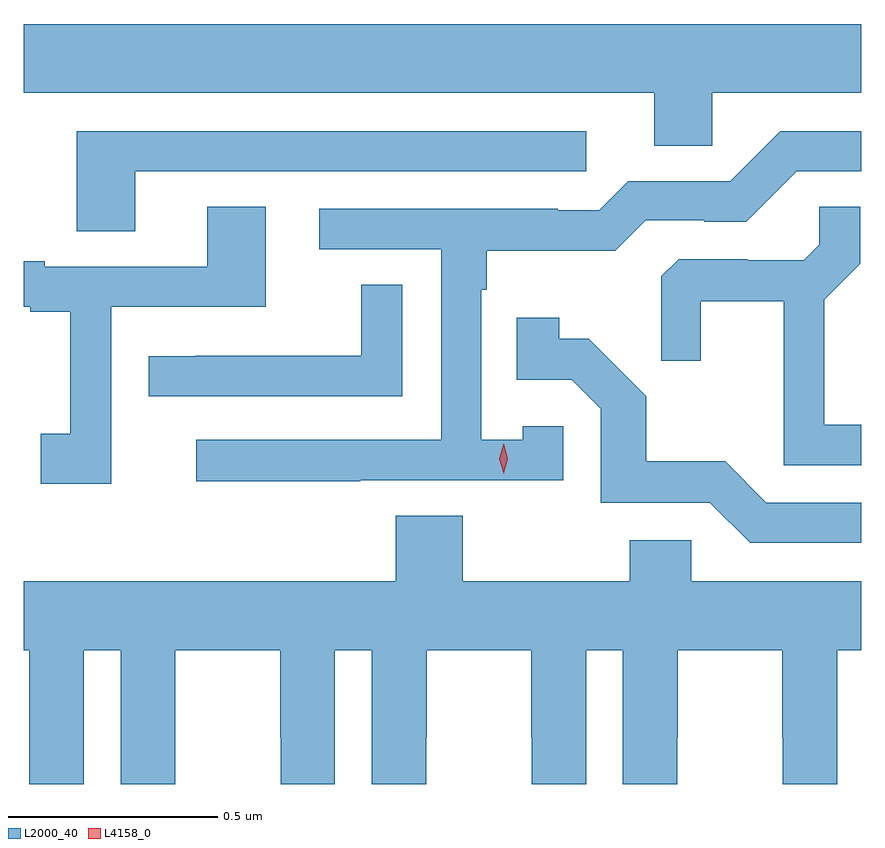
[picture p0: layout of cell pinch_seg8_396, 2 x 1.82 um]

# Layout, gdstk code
import gdstk
lib = gdstk.Library(unit=1e-6, precision=1e-09)
def P(c, l, *ps):  # polygons
    for p in ps: c.add(gdstk.Polygon(p, *l))
L2000_40 = (2000, 40)
L4158_0 = (4158, 0)

pinch_seg8_396 = lib.new_cell('pinch_seg8_396')
P(pinch_seg8_396, L2000_40, [(479.91,1097.852),(480.265,1097.852),(480.265,1098.016),(478.265,1098.016),(478.265,1097.852),(479.771,1097.852),(479.771,1097.725),(479.91,1097.725)],
  [(478.531,1097.664),(479.608,1097.664),(479.608,1097.76),(478.391,1097.76),(478.391,1097.521),(478.531,1097.521)],
  [(479.069,1096.926),(479.553,1096.926),(479.553,1097.055),(479.457,1097.055),(479.457,1097.023),(479.358,1097.023),(479.358,1097.381),(479.371,1097.381),(479.371,1097.474),(479.678,1097.474),(479.751,1097.547),(479.89,1097.547),(479.89,1097.544),(479.991,1097.544),(480.111,1097.664),(480.265,1097.664),(480.265,1097.76),(480.072,1097.76),(479.952,1097.64),(479.709,1097.64),(479.64,1097.571),(479.54,1097.571),(479.54,1097.574),(478.971,1097.574),(478.971,1097.478),(479.262,1097.478),(479.262,1097.022),(478.677,1097.022),(478.677,1096.924),(479.069,1096.924)],
  [(480.265,1097.058),(480.177,1097.058),(480.177,1097.357),(480.263,1097.443),(480.263,1097.579),(480.165,1097.579),(480.165,1097.488),(480.128,1097.451),(479.994,1097.451),(479.994,1097.454),(479.829,1097.454),(479.788,1097.413),(479.788,1097.211),(479.882,1097.211),(479.882,1097.354),(480.08,1097.354),(480.08,1096.962),(480.265,1096.962)],
  [(478.473,1097.34),(478.843,1097.34),(478.843,1097.579),(478.703,1097.579),(478.703,1097.436),(478.315,1097.436),(478.315,1097.449),(478.265,1097.449),(478.265,1097.34),(478.28,1097.34),(478.28,1097.328),(478.376,1097.328),(478.376,1097.037),(478.305,1097.037),(478.305,1096.917),(478.473,1096.917)],
  [(479.169,1097.393),(479.071,1097.393),(479.071,1097.223),(478.675,1097.223),(478.675,1097.222),(478.563,1097.222),(478.563,1097.127),(479.169,1097.127)],
  [(480.265,1096.872),(480.039,1096.872),(479.941,1096.971),(479.752,1096.971),(479.752,1097.126),(479.614,1097.264),(479.544,1097.264),(479.544,1097.314),(479.443,1097.314),(479.443,1097.166),(479.574,1097.166),(479.643,1097.097),(479.643,1096.872),(479.904,1096.872),(480,1096.776),(480.265,1096.776)],
  [(479.313,1096.841),(479.153,1096.841),(479.153,1096.684),(478.265,1096.684),(478.265,1096.52),(478.277,1096.52),(478.277,1096.312),(478.278,1096.312),(478.278,1096.2),(478.408,1096.2),(478.408,1096.52),(478.496,1096.52),(478.496,1096.2),(478.626,1096.2),(478.626,1096.312),(478.627,1096.312),(478.627,1096.52),(478.877,1096.52),(478.877,1096.312),(478.878,1096.312),(478.878,1096.2),(479.008,1096.2),(479.008,1096.52),(479.096,1096.52),(479.096,1096.2),(479.226,1096.2),(479.226,1096.312),(479.227,1096.312),(479.227,1096.52),(479.477,1096.52),(479.477,1096.312),(479.478,1096.312),(479.478,1096.2),(479.608,1096.2),(479.608,1096.52),(479.696,1096.52),(479.696,1096.2),(479.826,1096.2),(479.826,1096.312),(479.827,1096.312),(479.827,1096.52),(480.077,1096.52),(480.077,1096.312),(480.078,1096.312),(480.078,1096.2),(480.208,1096.2),(480.208,1096.52),(480.265,1096.52),(480.265,1096.684),(479.859,1096.684),(479.859,1096.782),(479.713,1096.782),(479.713,1096.684),(479.313,1096.684)])
P(pinch_seg8_396, L4158_0, [(479.411,1096.941),(479.411,1096.942),(479.401,1096.977),(479.411,1097.013),(479.411,1097.013),(479.411,1097.013),(479.421,1096.977),(479.411,1096.942)])

lib.write_gds('pinch_seg8_396.gds')
